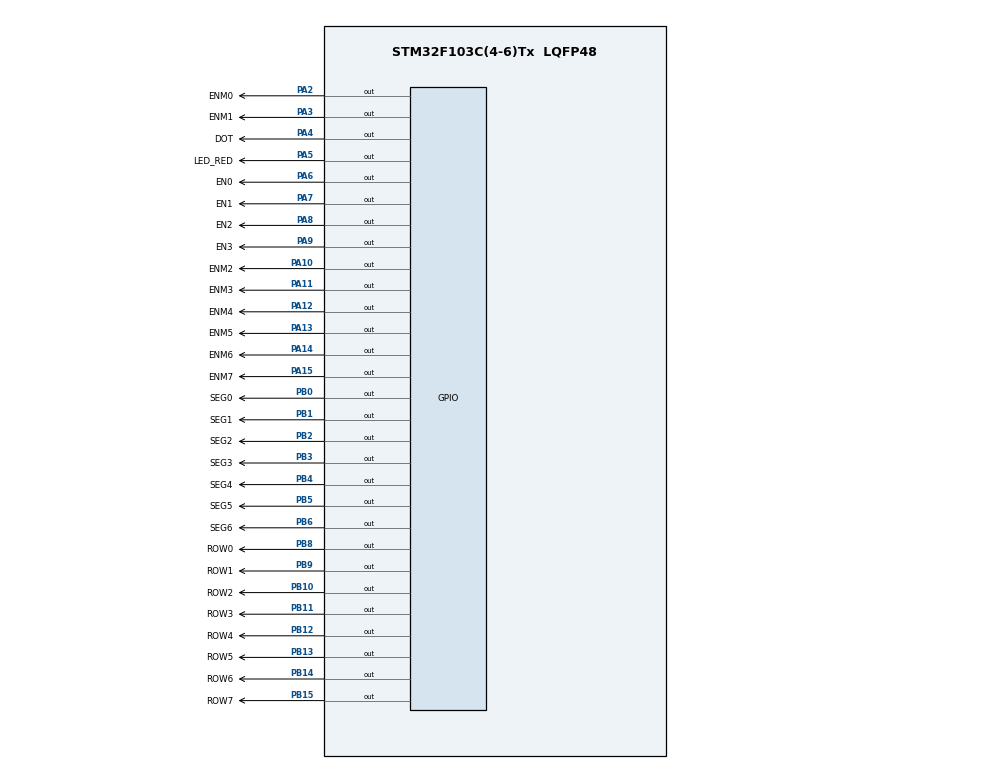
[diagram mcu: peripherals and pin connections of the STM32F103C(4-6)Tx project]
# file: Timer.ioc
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Mcu.Family=STM32F1
Mcu.Name=STM32F103C(4-6)Tx
Mcu.Package=LQFP48
NVIC.PriorityGroup=NVIC_PRIORITYGROUP_4
NVIC.TIM2_IRQn=true\:0\:0\:false\:false\:true\:true\:true
PA10.GPIO_Label=ENM2
PA10.Signal=GPIO_Output
PA11.GPIO_Label=ENM3
PA11.Signal=GPIO_Output
PA12.GPIO_Label=ENM4
PA12.Signal=GPIO_Output
PA13.GPIO_Label=ENM5
PA13.Signal=GPIO_Output
PA14.GPIO_Label=ENM6
PA14.Signal=GPIO_Output
PA15.GPIO_Label=ENM7
PA15.Signal=GPIO_Output
PA2.GPIO_Label=ENM0
PA2.Signal=GPIO_Output
PA3.GPIO_Label=ENM1
PA3.Signal=GPIO_Output
PA4.GPIO_Label=DOT
PA4.Signal=GPIO_Output
PA5.GPIO_Label=LED_RED
PA5.Signal=GPIO_Output
PA6.GPIO_Label=EN0
PA6.Signal=GPIO_Output
PA7.GPIO_Label=EN1
PA7.Signal=GPIO_Output
PA8.GPIO_Label=EN2
PA8.Signal=GPIO_Output
PA9.GPIO_Label=EN3
PA9.Signal=GPIO_Output
PB0.GPIO_Label=SEG0
PB0.Signal=GPIO_Output
PB1.GPIO_Label=SEG1
PB1.Signal=GPIO_Output
PB10.GPIO_Label=ROW2
PB10.Signal=GPIO_Output
PB11.GPIO_Label=ROW3
PB11.Signal=GPIO_Output
PB12.GPIO_Label=ROW4
PB12.Signal=GPIO_Output
PB13.GPIO_Label=ROW5
PB13.Signal=GPIO_Output
PB14.GPIO_Label=ROW6
PB14.Signal=GPIO_Output
PB15.GPIO_Label=ROW7
PB15.Signal=GPIO_Output
PB2.GPIO_Label=SEG2
PB2.Signal=GPIO_Output
PB3.GPIO_Label=SEG3
PB3.Signal=GPIO_Output
PB4.GPIO_Label=SEG4
PB4.Signal=GPIO_Output
PB5.GPIO_Label=SEG5
PB5.Signal=GPIO_Output
PB6.GPIO_Label=SEG6
PB6.Signal=GPIO_Output
PB8.GPIO_Label=ROW0
PB8.Signal=GPIO_Output
PB9.GPIO_Label=ROW1
PB9.Signal=GPIO_Output
ProjectManager.HeapSize=0x200
ProjectManager.StackSize=0x400
ProjectManager.TargetToolchain=STM32CubeIDE
RCC.APB1Freq_Value=8000000
RCC.APB2Freq_Value=8000000
TIM2.Period=9
TIM2.Prescaler=7999
VP_SYS_VS_ND.Mode=No_Debug
VP_TIM2_VS_ClockSourceINT.Mode=Internal
board=custom

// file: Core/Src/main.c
/* USER CODE BEGIN Header */
/**
 ******************************************************************************
 * @file           : main.c
 * @brief          : Main program body
 ******************************************************************************
 * @attention
 *
 * <h2><center>&copy; Copyright (c) 2021 STMicroelectronics.
 * All rights reserved.</center></h2>
 *
 * This software component is licensed by ST under BSD 3-Clause license,
 * the "License"; You may not use this file except in compliance with the
 * License. You may obtain a copy of the License at:
 *                        opensource.org/licenses/BSD-3-Clause
 *
 ******************************************************************************
 */
/* USER CODE END Header */
#include "main.h"

TIM_HandleTypeDef htim2;

void SystemClock_Config(void);
static void MX_GPIO_Init(void);
static void MX_TIM2_Init(void);

/* USER CODE BEGIN 0 */
const int MAX_LED = 4;
int index_led = 0;
int led_buffer[4] = { 1, 5, 5, 9 };
int hour = 15, minute = 59, second = 55;
int timer0_counter = 0;
int timer1_counter = 0;
int timer0_flag = 0;
int timer1_flag = 0;
int TIMER_CYCLE = 50;
void setTimer0(int duration) {
	timer0_counter = duration / TIMER_CYCLE;
	timer0_flag = 0;
}
void setTimer1(int duration) {
	timer1_counter = duration / TIMER_CYCLE;
	timer1_flag = 0;
}
void timer_run() {
	if (timer1_counter > 0) {
		timer1_counter--;
		if (timer1_counter == 0)
			timer1_flag = 1;
	}
	if (timer0_counter > 0) {
		timer0_counter--;
		if (timer0_counter == 0)
			timer0_flag = 1;
	}

}
const int MAX_LED_MATRIX = 8;
int index_led_matrix = 0;
uint8_t matrix_buffer[8] = { 0x01, 0x02, 0x03, 0x04, 0x05, 0x06, 0x07, 0x08 };
void updateLEDMatrix(int index) {
	switch (index) {
	case 0:
		break;
	case 1:
		break;
	case 2:
		break;
	case 3:
		break;
	case 4:
		break;
	case 5:
		break;
	case 6:
		break;
	case 7:
		break;
	default:
		break;
	}
}
void displaySegment(unsigned int num) {
	switch (num) {
	case 0:
		HAL_GPIO_WritePin(SEG0_GPIO_Port, SEG0_Pin, 0);
		HAL_GPIO_WritePin(SEG1_GPIO_Port, SEG1_Pin, 0);
		HAL_GPIO_WritePin(SEG2_GPIO_Port, SEG2_Pin, 0);
		HAL_GPIO_WritePin(SEG3_GPIO_Port, SEG3_Pin, 0);
		HAL_GPIO_WritePin(SEG4_GPIO_Port, SEG4_Pin, 0);
		HAL_GPIO_WritePin(SEG5_GPIO_Port, SEG5_Pin, 0);
		HAL_GPIO_WritePin(SEG6_GPIO_Port, SEG6_Pin, 1);
		break;
	case 1:
		HAL_GPIO_WritePin(SEG0_GPIO_Port, SEG0_Pin, 1);
		HAL_GPIO_WritePin(SEG1_GPIO_Port, SEG1_Pin, 0);
		HAL_GPIO_WritePin(SEG2_GPIO_Port, SEG2_Pin, 0);
		HAL_GPIO_WritePin(SEG3_GPIO_Port, SEG3_Pin, 1);
		HAL_GPIO_WritePin(SEG4_GPIO_Port, SEG4_Pin, 1);
		HAL_GPIO_WritePin(SEG5_GPIO_Port, SEG5_Pin, 1);
		HAL_GPIO_WritePin(SEG6_GPIO_Port, SEG6_Pin, 1);
		break;
	case 2:
		HAL_GPIO_WritePin(SEG0_GPIO_Port, SEG0_Pin, 0);
		HAL_GPIO_WritePin(SEG1_GPIO_Port, SEG1_Pin, 0);
		HAL_GPIO_WritePin(SEG2_GPIO_Port, SEG2_Pin, 1);
		HAL_GPIO_WritePin(SEG3_GPIO_Port, SEG3_Pin, 0);
		HAL_GPIO_WritePin(SEG4_GPIO_Port, SEG4_Pin, 0);
		HAL_GPIO_WritePin(SEG5_GPIO_Port, SEG5_Pin, 1);
		HAL_GPIO_WritePin(SEG6_GPIO_Port, SEG6_Pin, 0);
		break;
	case 3:
		HAL_GPIO_WritePin(SEG0_GPIO_Port, SEG0_Pin, 0);
		HAL_GPIO_WritePin(SEG1_GPIO_Port, SEG1_Pin, 0);
		HAL_GPIO_WritePin(SEG2_GPIO_Port, SEG2_Pin, 0);
		HAL_GPIO_WritePin(SEG3_GPIO_Port, SEG3_Pin, 0);
		HAL_GPIO_WritePin(SEG4_GPIO_Port, SEG4_Pin, 1);
		HAL_GPIO_WritePin(SEG5_GPIO_Port, SEG5_Pin, 1);
		HAL_GPIO_WritePin(SEG6_GPIO_Port, SEG6_Pin, 0);
		break;
	case 4:
		HAL_GPIO_WritePin(SEG0_GPIO_Port, SEG0_Pin, 1);
		HAL_GPIO_WritePin(SEG1_GPIO_Port, SEG1_Pin, 0);
		HAL_GPIO_WritePin(SEG2_GPIO_Port, SEG2_Pin, 0);
		HAL_GPIO_WritePin(SEG3_GPIO_Port, SEG3_Pin, 1);
		HAL_GPIO_WritePin(SEG4_GPIO_Port, SEG4_Pin, 1);
		HAL_GPIO_WritePin(SEG5_GPIO_Port, SEG5_Pin, 0);
		HAL_GPIO_WritePin(SEG6_GPIO_Port, SEG6_Pin, 0);
		break;
	case 5:
		HAL_GPIO_WritePin(SEG0_GPIO_Port, SEG0_Pin, 0);
		HAL_GPIO_WritePin(SEG1_GPIO_Port, SEG1_Pin, 1);
		HAL_GPIO_WritePin(SEG2_GPIO_Port, SEG2_Pin, 0);
		HAL_GPIO_WritePin(SEG3_GPIO_Port, SEG3_Pin, 0);
		HAL_GPIO_WritePin(SEG4_GPIO_Port, SEG4_Pin, 1);
		HAL_GPIO_WritePin(SEG5_GPIO_Port, SEG5_Pin, 0);
		HAL_GPIO_WritePin(SEG6_GPIO_Port, SEG6_Pin, 0);
		break;
	case 6:
		HAL_GPIO_WritePin(SEG0_GPIO_Port, SEG0_Pin, 0);
		HAL_GPIO_WritePin(SEG1_GPIO_Port, SEG1_Pin, 1);
		HAL_GPIO_WritePin(SEG2_GPIO_Port, SEG2_Pin, 0);
		HAL_GPIO_WritePin(SEG3_GPIO_Port, SEG3_Pin, 0);
		HAL_GPIO_WritePin(SEG4_GPIO_Port, SEG4_Pin, 0);
		HAL_GPIO_WritePin(SEG5_GPIO_Port, SEG5_Pin, 0);
		HAL_GPIO_WritePin(SEG6_GPIO_Port, SEG6_Pin, 0);
		break;
	case 7:
		HAL_GPIO_WritePin(SEG0_GPIO_Port, SEG0_Pin, 0);
		HAL_GPIO_WritePin(SEG1_GPIO_Port, SEG1_Pin, 0);
		HAL_GPIO_WritePin(SEG2_GPIO_Port, SEG2_Pin, 0);
		HAL_GPIO_WritePin(SEG3_GPIO_Port, SEG3_Pin, 1);
		HAL_GPIO_WritePin(SEG4_GPIO_Port, SEG4_Pin, 1);
		HAL_GPIO_WritePin(SEG5_GPIO_Port, SEG5_Pin, 1);
		HAL_GPIO_WritePin(SEG6_GPIO_Port, SEG6_Pin, 1);
		break;
	case 8:
		HAL_GPIO_WritePin(SEG0_GPIO_Port, SEG0_Pin, 0);
		HAL_GPIO_WritePin(SEG1_GPIO_Port, SEG1_Pin, 0);
		HAL_GPIO_WritePin(SEG2_GPIO_Port, SEG2_Pin, 0);
		HAL_GPIO_WritePin(SEG3_GPIO_Port, SEG3_Pin, 0);
		HAL_GPIO_WritePin(SEG4_GPIO_Port, SEG4_Pin, 0);
		HAL_GPIO_WritePin(SEG5_GPIO_Port, SEG5_Pin, 0);
		HAL_GPIO_WritePin(SEG6_GPIO_Port, SEG6_Pin, 0);
		break;
	case 9:
		HAL_GPIO_WritePin(SEG0_GPIO_Port, SEG0_Pin, 0);
		HAL_GPIO_WritePin(SEG1_GPIO_Port, SEG1_Pin, 0);
		HAL_GPIO_WritePin(SEG2_GPIO_Port, SEG2_Pin, 0);
		HAL_GPIO_WritePin(SEG3_GPIO_Port, SEG3_Pin, 0);
		HAL_GPIO_WritePin(SEG4_GPIO_Port, SEG4_Pin, 1);
		HAL_GPIO_WritePin(SEG5_GPIO_Port, SEG5_Pin, 0);
		HAL_GPIO_WritePin(SEG6_GPIO_Port, SEG6_Pin, 0);
		break;
	}
}
void update7SEG(int index) {
	switch (index) {
	case 0:
		//Display the first 7SEG with led_buffer[0]
		HAL_GPIO_WritePin(EN1_GPIO_Port, EN1_Pin, 1);
		HAL_GPIO_WritePin(EN2_GPIO_Port, EN2_Pin, 1);
		HAL_GPIO_WritePin(EN3_GPIO_Port, EN3_Pin, 1);
		displaySegment(led_buffer[0]);
		HAL_GPIO_WritePin(EN0_GPIO_Port, EN0_Pin, 0);
		break;
	case 1:
		//Display the second 7SEG with led_buffer[1]
		HAL_GPIO_WritePin(EN0_GPIO_Port, EN0_Pin, 1);
		HAL_GPIO_WritePin(EN2_GPIO_Port, EN2_Pin, 1);
		HAL_GPIO_WritePin(EN3_GPIO_Port, EN3_Pin, 1);
		displaySegment(led_buffer[1]);
		HAL_GPIO_WritePin(EN1_GPIO_Port, EN1_Pin, 0);
		break;
	case 2:
		//Display the third 7SEG with led_buffer[2]
		HAL_GPIO_WritePin(EN0_GPIO_Port, EN0_Pin, 1);
		HAL_GPIO_WritePin(EN1_GPIO_Port, EN1_Pin, 1);
		HAL_GPIO_WritePin(EN3_GPIO_Port, EN3_Pin, 1);
		displaySegment(led_buffer[2]);
		HAL_GPIO_WritePin(EN2_GPIO_Port, EN2_Pin, 0);
		break;
	case 3:
		//Display the forth 7SEG with led_buffer[3]
		HAL_GPIO_WritePin(EN0_GPIO_Port, EN0_Pin, 1);
		HAL_GPIO_WritePin(EN1_GPIO_Port, EN1_Pin, 1);
		HAL_GPIO_WritePin(EN2_GPIO_Port, EN2_Pin, 1);
		displaySegment(led_buffer[3]);
		HAL_GPIO_WritePin(EN3_GPIO_Port, EN3_Pin, 0);
		break;
	default:
		break;
	}
}
void updateClockBuffer() {
	led_buffer[3] = minute % 10;
	led_buffer[2] = minute / 10;
	led_buffer[1] = hour % 10;
	led_buffer[0] = hour / 10;
}
/* USER CODE END 0 */

int main(void) {

	/* MCU Configuration--------------------------------------------------------*/

	/* Reset of all peripherals, Initializes the Flash interface and the Systick. */
	HAL_Init();

	/* Configure the system clock */
	SystemClock_Config();

	/* Initialize all configured peripherals */
	MX_GPIO_Init();
	MX_TIM2_Init();
	/* USER CODE BEGIN 2 */
	HAL_TIM_Base_Start_IT(&htim2);
	/* USER CODE END 2 */

	/* Infinite loop */
	/* USER CODE BEGIN WHILE */
	setTimer0(1000);
	setTimer1(1000);
	while (1) {
		/* USER CODE END WHILE */
		if (timer0_flag == 1) {
			HAL_GPIO_TogglePin(LED_RED_GPIO_Port, LED_RED_Pin);
			HAL_GPIO_TogglePin(DOT_GPIO_Port, DOT_Pin);
			second++;
			setTimer0(1000);
		}
		if (timer1_flag == 1) {
			if (index_led == 4) {
				index_led = 0;
				update7SEG(index_led);
				index_led++;
			} else
				update7SEG(index_led++);
			setTimer1(250);
		}
		if (second >= 60) {
			second = 0;
			minute++;
		}
		if (minute >= 60) {
			minute = 0;
			hour++;
		}
		if (hour >= 24) {
			hour = 0;
		}
		updateClockBuffer();
	}
}

void SystemClock_Config(void) {
	RCC_OscInitTypeDef RCC_OscInitStruct = { 0 };
	RCC_ClkInitTypeDef RCC_ClkInitStruct = { 0 };

	/** Initializes the RCC Oscillators according to the specified parameters
	 * in the RCC_OscInitTypeDef structure.
	 */
	RCC_OscInitStruct.OscillatorType = RCC_OSCILLATORTYPE_HSI;
	RCC_OscInitStruct.HSIState = RCC_HSI_ON;
	RCC_OscInitStruct.HSICalibrationValue = RCC_HSICALIBRATION_DEFAULT;
	RCC_OscInitStruct.PLL.PLLState = RCC_PLL_NONE;
	if (HAL_RCC_OscConfig(&RCC_OscInitStruct) != HAL_OK) {
		Error_Handler();
	}
	/** Initializes the CPU, AHB and APB buses clocks
	 */
	RCC_ClkInitStruct.ClockType = RCC_CLOCKTYPE_HCLK | RCC_CLOCKTYPE_SYSCLK
			| RCC_CLOCKTYPE_PCLK1 | RCC_CLOCKTYPE_PCLK2;
	RCC_ClkInitStruct.SYSCLKSource = RCC_SYSCLKSOURCE_HSI;
	RCC_ClkInitStruct.AHBCLKDivider = RCC_SYSCLK_DIV1;
	RCC_ClkInitStruct.APB1CLKDivider = RCC_HCLK_DIV1;
	RCC_ClkInitStruct.APB2CLKDivider = RCC_HCLK_DIV1;

	if (HAL_RCC_ClockConfig(&RCC_ClkInitStruct, FLASH_LATENCY_0) != HAL_OK) {
		Error_Handler();
	}
}

static void MX_TIM2_Init(void) {

	TIM_ClockConfigTypeDef sClockSourceConfig = { 0 };
	TIM_MasterConfigTypeDef sMasterConfig = { 0 };

	htim2.Instance = TIM2;
	htim2.Init.Prescaler = 7999;
	htim2.Init.CounterMode = TIM_COUNTERMODE_UP;
	htim2.Init.Period = 49;
	htim2.Init.ClockDivision = TIM_CLOCKDIVISION_DIV1;
	htim2.Init.AutoReloadPreload = TIM_AUTORELOAD_PRELOAD_DISABLE;
	if (HAL_TIM_Base_Init(&htim2) != HAL_OK) {
		Error_Handler();
	}
	sClockSourceConfig.ClockSource = TIM_CLOCKSOURCE_INTERNAL;
	if (HAL_TIM_ConfigClockSource(&htim2, &sClockSourceConfig) != HAL_OK) {
		Error_Handler();
	}
	sMasterConfig.MasterOutputTrigger = TIM_TRGO_RESET;
	sMasterConfig.MasterSlaveMode = TIM_MASTERSLAVEMODE_DISABLE;
	if (HAL_TIMEx_MasterConfigSynchronization(&htim2, &sMasterConfig)
			!= HAL_OK) {
		Error_Handler();
	}

}

static void MX_GPIO_Init(void) {
	GPIO_InitTypeDef GPIO_InitStruct = { 0 };

	/* GPIO Ports Clock Enable */
	__HAL_RCC_GPIOA_CLK_ENABLE();
	__HAL_RCC_GPIOB_CLK_ENABLE();

	/*Configure GPIO pin Output Level */
	HAL_GPIO_WritePin(GPIOA,
			ENM0_Pin | ENM1_Pin | DOT_Pin | LED_RED_Pin | EN0_Pin | EN1_Pin
					| EN2_Pin | EN3_Pin | ENM2_Pin | ENM3_Pin | ENM4_Pin
					| ENM5_Pin | ENM6_Pin | ENM7_Pin, GPIO_PIN_RESET);

	/*Configure GPIO pin Output Level */
	HAL_GPIO_WritePin(GPIOB,
			SEG0_Pin | SEG1_Pin | SEG2_Pin | ROW2_Pin | ROW3_Pin | ROW4_Pin
					| ROW5_Pin | ROW6_Pin | ROW7_Pin | SEG3_Pin | SEG4_Pin
					| SEG5_Pin | SEG6_Pin | ROW0_Pin | ROW1_Pin,
			GPIO_PIN_RESET);

	/*Configure GPIO pins : ENM0_Pin ENM1_Pin DOT_Pin LED_RED_Pin
	 EN0_Pin EN1_Pin EN2_Pin EN3_Pin
	 ENM2_Pin ENM3_Pin ENM4_Pin ENM5_Pin
	 ENM6_Pin ENM7_Pin */
	GPIO_InitStruct.Pin = ENM0_Pin | ENM1_Pin | DOT_Pin | LED_RED_Pin | EN0_Pin
			| EN1_Pin | EN2_Pin | EN3_Pin | ENM2_Pin | ENM3_Pin | ENM4_Pin
			| ENM5_Pin | ENM6_Pin | ENM7_Pin;
	GPIO_InitStruct.Mode = GPIO_MODE_OUTPUT_PP;
	GPIO_InitStruct.Pull = GPIO_NOPULL;
	GPIO_InitStruct.Speed = GPIO_SPEED_FREQ_LOW;
	HAL_GPIO_Init(GPIOA, &GPIO_InitStruct);

	/*Configure GPIO pins : SEG0_Pin SEG1_Pin SEG2_Pin ROW2_Pin
	 ROW3_Pin ROW4_Pin ROW5_Pin ROW6_Pin
	 ROW7_Pin SEG3_Pin SEG4_Pin SEG5_Pin
	 SEG6_Pin ROW0_Pin ROW1_Pin */
	GPIO_InitStruct.Pin = SEG0_Pin | SEG1_Pin | SEG2_Pin | ROW2_Pin | ROW3_Pin
			| ROW4_Pin | ROW5_Pin | ROW6_Pin | ROW7_Pin | SEG3_Pin | SEG4_Pin
			| SEG5_Pin | SEG6_Pin | ROW0_Pin | ROW1_Pin;
	GPIO_InitStruct.Mode = GPIO_MODE_OUTPUT_PP;
	GPIO_InitStruct.Pull = GPIO_NOPULL;
	GPIO_InitStruct.Speed = GPIO_SPEED_FREQ_LOW;
	HAL_GPIO_Init(GPIOB, &GPIO_InitStruct);

}

/* USER CODE BEGIN 4 */
void HAL_TIM_PeriodElapsedCallback(TIM_HandleTypeDef *htim) {
	if (htim->Instance == TIM2) {
		timer_run();
	}
}
/* USER CODE END 4 */

void Error_Handler(void) {
	__disable_irq();
	while (1) {
	}
}

/************************ (C) COPYRIGHT STMicroelectronics *****END OF FILE****/
